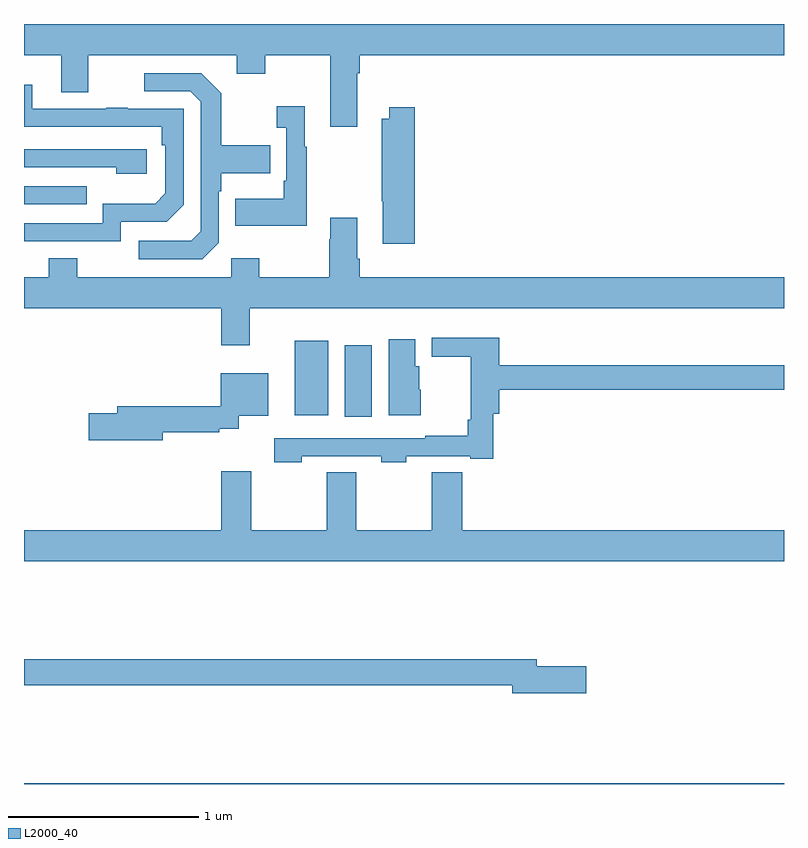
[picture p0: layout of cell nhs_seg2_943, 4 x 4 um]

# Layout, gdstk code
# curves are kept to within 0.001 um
import gdstk
lib = gdstk.Library(unit=1e-6, precision=1e-09)
def R(c, l, rs):  # rectangles x0, y0, x1, y1
    for r in rs: c.add(gdstk.rectangle(r[:2], r[2:], *l))
def P(c, l, *ps):  # polygons
    for p in ps: c.add(gdstk.Polygon(p, *l))
L2000_40 = (2000, 40)

nhs_seg2_943 = lib.new_cell('nhs_seg2_943')
R(nhs_seg2_943, L2000_40, [(159,643.8,163,643.804), (160.688,645.732,160.831,646.108), (160.424,645.74,160.6,646.132), (159,646.851,159.329,646.947)])
P(nhs_seg2_943, L2000_40, [(160.753,647.54),(160.766,647.54),(160.766,647.636),(163,647.636),(163,647.8),(159,647.8),(159,647.636),(159.197,647.636),(159.197,647.442),(159.337,647.442),(159.337,647.636),(160.121,647.636),(160.121,647.537),(160.269,647.537),(160.269,647.636),(160.613,647.636),(160.613,647.259),(160.753,647.259)],
  [(160.026,646.65),(160.026,646.919),(160.039,646.919),(160.039,647.015),(160.295,647.015),(160.295,647.163),(160.039,647.163),(160.039,647.435),(159.933,647.541),(159.633,647.541),(159.633,647.445),(159.876,647.445),(159.93,647.391),(159.93,646.71),(159.879,646.659),(159.603,646.659),(159.603,646.563),(159.939,646.563)],
  [(159.51,646.758),(159.75,646.758),(159.84,646.848),(159.84,647.355),(159.545,647.355),(159.545,647.36),(159.433,647.36),(159.433,647.355),(159.043,647.355),(159.043,647.479),(159,647.479),(159,647.26),(159.724,647.259),(159.724,647.162),(159.744,647.162),(159.744,646.908),(159.691,646.855),(159.414,646.855),(159.414,646.752),(159,646.752),(159,646.656),(159.51,646.656)],
  [(160.489,647.155),(160.477,647.155),(160.477,647.368),(160.329,647.368),(160.329,647.255),(160.38,647.255),(160.38,646.975),(160.368,646.975),(160.368,646.879),(160.111,646.879),(160.111,646.739),(160.489,646.739)],
  [(161.057,647.362),(160.922,647.362),(160.922,647.302),(160.882,647.302),(160.882,646.867),(160.889,646.867),(160.889,646.644),(161.057,646.644)],
  [(159.646,647.142),(159,647.142),(159,647.046),(159.485,647.046),(159.485,647.012),(159.646,647.012)],
  [(160.189,646.304),(163,646.304),(163,646.468),(160.766,646.468),(160.766,646.564),(160.753,646.564),(160.753,646.78),(160.613,646.78),(160.613,646.667),(160.606,646.667),(160.606,646.468),(160.239,646.468),(160.239,646.567),(160.092,646.567),(160.092,646.468),(159.279,646.468),(159.279,646.567),(159.131,646.567),(159.131,646.468),(159,646.468),(159,646.304),(160.037,646.304),(160.037,646.11),(160.189,646.11)],
  [(160.461,645.525),(160.881,645.525),(160.881,645.493),(161.013,645.493),(161.013,645.525),(161.348,645.525),(161.348,645.513),(161.471,645.513),(161.471,645.749),(161.501,645.749),(161.501,645.874),(163,645.874),(163,646.003),(161.501,646.003),(161.501,646.15),(161.145,646.15),(161.145,646.048),(161.35,646.048),(161.35,645.718),(161.335,645.718),(161.335,645.634),(161.113,645.634),(161.113,645.621),(160.317,645.621),(160.317,645.493),(160.461,645.493)],
  [(161.089,645.876),(161.08,645.876),(161.08,645.999),(161.059,645.999),(161.059,646.141),(160.919,646.141),(160.919,645.74),(161.089,645.74)],
  [(159.73,645.652),(160.028,645.652),(160.028,645.67),(160.131,645.67),(160.131,645.737),(160.285,645.737),(160.285,645.961),(160.035,645.961),(160.035,645.788),(159.491,645.788),(159.491,645.752),(159.342,645.752),(159.342,645.61),(159.73,645.61)],
  [(163,645.136),(161.306,645.136),(161.306,645.44),(161.146,645.44),(161.146,645.136),(160.748,645.136),(160.748,645.44),(160.594,645.44),(160.594,645.136),(160.197,645.136),(160.197,645.445),(160.037,645.445),(160.037,645.136),(159,645.136),(159,644.972),(163,644.972)],
  [(161.959,644.42),(161.698,644.42),(161.698,644.456),(159,644.456),(159,644.32),(161.57,644.32),(161.57,644.278),(161.959,644.278)])

lib.write_gds('nhs_seg2_943.gds')
